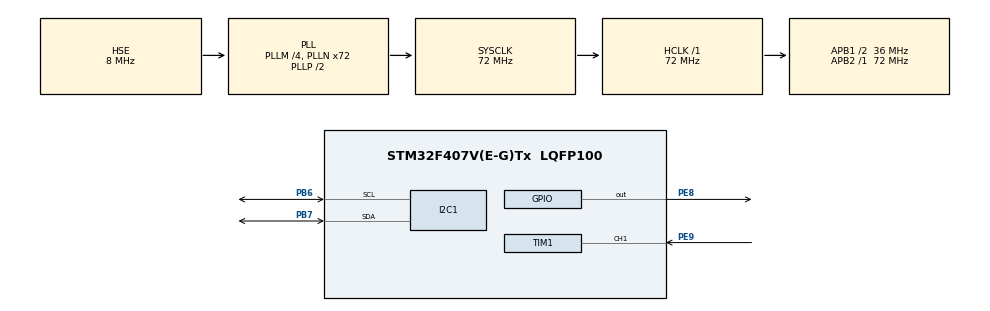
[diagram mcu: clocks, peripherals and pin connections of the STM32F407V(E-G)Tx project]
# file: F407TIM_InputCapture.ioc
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Mcu.Family=STM32F4
Mcu.Name=STM32F407V(E-G)Tx
Mcu.Package=LQFP100
NVIC.PriorityGroup=NVIC_PRIORITYGROUP_4
NVIC.TIM1_CC_IRQn=true\:0\:0\:false\:false\:true\:true\:true\:true
PA13.Mode=Serial_Wire
PA13.Signal=SYS_JTMS-SWDIO
PA14.Mode=Serial_Wire
PA14.Signal=SYS_JTCK-SWCLK
PB6.Mode=I2C
PB6.Signal=I2C1_SCL
PB7.Mode=I2C
PB7.Signal=I2C1_SDA
PE8.Signal=GPIO_Output
PE9.Signal=S_TIM1_CH1
PH0-OSC_IN.Mode=HSE-External-Oscillator
PH0-OSC_IN.Signal=RCC_OSC_IN
PH1-OSC_OUT.Mode=HSE-External-Oscillator
PH1-OSC_OUT.Signal=RCC_OSC_OUT
ProjectManager.HeapSize=0x200
ProjectManager.StackSize=0x400
ProjectManager.TargetToolchain=STM32CubeIDE
RCC.48MHZClocksFreq_Value=36000000
RCC.AHBFreq_Value=72000000
RCC.APB1CLKDivider=RCC_HCLK_DIV2
RCC.APB1Freq_Value=36000000
RCC.APB1TimFreq_Value=72000000
RCC.APB2Freq_Value=72000000
RCC.APB2TimFreq_Value=72000000
RCC.CortexFreq_Value=72000000
RCC.HCLKFreq_Value=72000000
RCC.HSE_VALUE=8000000
RCC.HSI_VALUE=16000000
RCC.LSE_VALUE=32768
RCC.PLLM=4
RCC.PLLN=72
RCC.PLLSourceVirtual=RCC_PLLSOURCE_HSE
RCC.SYSCLKFreq_VALUE=72000000
RCC.SYSCLKSource=RCC_SYSCLKSOURCE_PLLCLK
RCC.VCOOutputFreq_Value=144000000
SH.S_TIM1_CH1.0=TIM1_CH1,Input_Capture1_from_TI1
TIM1.Channel-Input_Capture1_from_TI1=TIM_CHANNEL_1
TIM1.Channel-Input_Capture2_from_TI1_63=TIM_CHANNEL_2
TIM1.ICPolarity_CH2=TIM_INPUTCHANNELPOLARITY_FALLING
TIM1.Prescaler=72-1
VP_TIM1_VS_ClockSourceINT.Mode=Internal
VP_TIM1_VS_indirect_ch1.Mode=Input_Capture2_from_TI1_63
board=custom

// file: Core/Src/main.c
/* USER CODE BEGIN Header */
/**
  ******************************************************************************
  * @file           : main.c
  * @brief          : Main program body
  ******************************************************************************
  * @attention
  *
  * Copyright (c) 2024 STMicroelectronics.
  * All rights reserved.
  *
  * This software is licensed under terms that can be found in the LICENSE file
  * in the root directory of this software component.
  * If no LICENSE file comes with this software, it is provided AS-IS.
  *
  ******************************************************************************
  */
/* USER CODE END Header */
#include "main.h"
#include "i2c.h"
#include "tim.h"
#include "gpio.h"

/* USER CODE BEGIN Includes */
#include "oled.h"
/* USER CODE END Includes */

void SystemClock_Config(void);

/* USER CODE BEGIN 0 */
int upEdge = 0;
int downEdge = 0;
float distance = 0;
void HAL_TIM_IC_CaptureCallback(TIM_HandleTypeDef *htim)
{
	if (htim == &htim1 && htim->Channel == HAL_TIM_ACTIVE_CHANNEL_4){
		upEdge = HAL_TIM_ReadCapturedValue(&htim1, TIM_CHANNEL_3);
		downEdge = HAL_TIM_ReadCapturedValue(&htim1, TIM_CHANNEL_4);
		distance = ((downEdge - upEdge) * 0.034) / 2;
	}
}
/* USER CODE END 0 */

int main(void)
{

  /* MCU Configuration--------------------------------------------------------*/

  /* Reset of all peripherals, Initializes the Flash interface and the Systick. */
  HAL_Init();

  /* Configure the system clock */
  SystemClock_Config();

  /* Initialize all configured peripherals */
  MX_GPIO_Init();
  MX_I2C1_Init();
  MX_TIM1_Init();
  /* USER CODE BEGIN 2 */
  OLED_Init();
  HAL_TIM_Base_Start(&htim1);
  HAL_TIM_IC_Start(&htim1, TIM_CHANNEL_3);
  HAL_TIM_IC_Start_IT(&htim1, TIM_CHANNEL_4);

  char message[20] = "";
  /* USER CODE END 2 */

  /* Infinite loop */
  /* USER CODE BEGIN WHILE */
  while (1)
  {
	  HAL_GPIO_WritePin(GPIOE, GPIO_PIN_8, GPIO_PIN_SET);
	  HAL_Delay(1);
	  HAL_GPIO_WritePin(GPIOE, GPIO_PIN_8, GPIO_PIN_SET);
	  __HAL_TIM_SET_COUNTER(&htim1, 0);
	  HAL_Delay(20);
	  OLED_NewFrame();

	  sprintf(message, "距离: %.2fcm", distance);
	  OLED_PrintString(0, 0, message, &font16x16, OLED_COLOR_NORMAL);

	  OLED_ShowFrame();
	  HAL_Delay(500);
    /* USER CODE END WHILE */

  }
}

void SystemClock_Config(void)
{
  RCC_OscInitTypeDef RCC_OscInitStruct = {0};
  RCC_ClkInitTypeDef RCC_ClkInitStruct = {0};

  /** Configure the main internal regulator output voltage
  */
  __HAL_RCC_PWR_CLK_ENABLE();
  __HAL_PWR_VOLTAGESCALING_CONFIG(PWR_REGULATOR_VOLTAGE_SCALE1);

  /** Initializes the RCC Oscillators according to the specified parameters
  * in the RCC_OscInitTypeDef structure.
  */
  RCC_OscInitStruct.OscillatorType = RCC_OSCILLATORTYPE_HSE;
  RCC_OscInitStruct.HSEState = RCC_HSE_ON;
  RCC_OscInitStruct.PLL.PLLState = RCC_PLL_ON;
  RCC_OscInitStruct.PLL.PLLSource = RCC_PLLSOURCE_HSE;
  RCC_OscInitStruct.PLL.PLLM = 4;
  RCC_OscInitStruct.PLL.PLLN = 72;
  RCC_OscInitStruct.PLL.PLLP = RCC_PLLP_DIV2;
  RCC_OscInitStruct.PLL.PLLQ = 4;
  if (HAL_RCC_OscConfig(&RCC_OscInitStruct) != HAL_OK)
  {
    Error_Handler();
  }

  /** Initializes the CPU, AHB and APB buses clocks
  */
  RCC_ClkInitStruct.ClockType = RCC_CLOCKTYPE_HCLK|RCC_CLOCKTYPE_SYSCLK
                              |RCC_CLOCKTYPE_PCLK1|RCC_CLOCKTYPE_PCLK2;
  RCC_ClkInitStruct.SYSCLKSource = RCC_SYSCLKSOURCE_PLLCLK;
  RCC_ClkInitStruct.AHBCLKDivider = RCC_SYSCLK_DIV1;
  RCC_ClkInitStruct.APB1CLKDivider = RCC_HCLK_DIV2;
  RCC_ClkInitStruct.APB2CLKDivider = RCC_HCLK_DIV1;

  if (HAL_RCC_ClockConfig(&RCC_ClkInitStruct, FLASH_LATENCY_2) != HAL_OK)
  {
    Error_Handler();
  }
}

void Error_Handler(void)
{
  __disable_irq();
  while (1)
  {
  }
}
